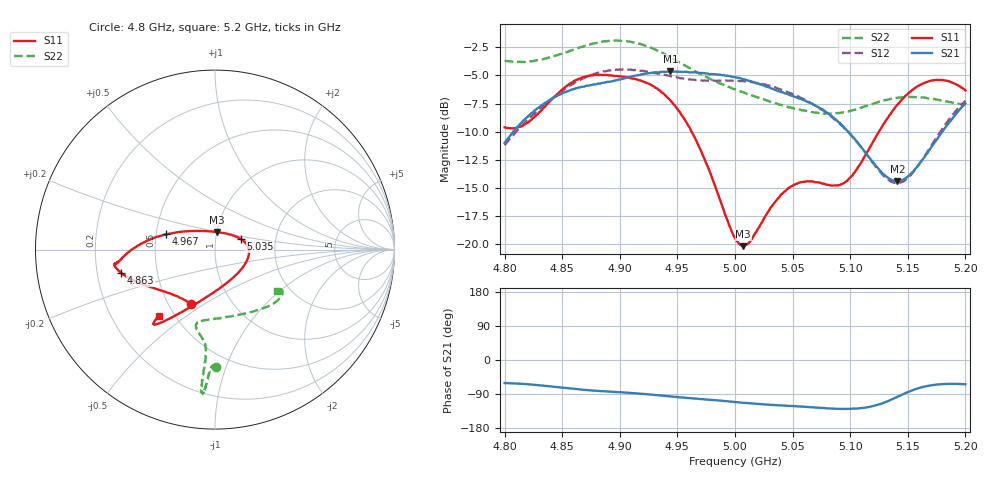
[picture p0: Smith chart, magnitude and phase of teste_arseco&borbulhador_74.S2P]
! Network Analyzer HP8722D
! Hewlett-Packard
! Data name: Linha & Wilkinson
! Saver's name: Rodrigo Anjos
! Comments: Teste da utilização de aquisição
! continua pelo VNA HP8722D
! Time and date: 15/4/2025 16:15
!  Frequency  S11  S21  S12  S22
# HZ  S  MA R 50
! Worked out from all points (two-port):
!   401 points, 4.8 GHz to 5.2 GHz, reference 50 ohm
!   highest |S21| = -4.62 dB at 4.944 GHz (marker M1); lowest = -14.4 dB at 5.141 GHz (marker M2)
!   |S21| within 3 dB of the highest: 4.833 GHz to 5.069 GHz (236.5 MHz wide, 4.78 % of centre); 5.198625 GHz to end of sweep
!   lowest |S11| = -20.2 dB at 5.007 GHz (marker M3), VSWR 1.22, Z = 50.2 + j9.88 ohm
!   |S11| at or under -10 dB: 4.962 GHz to 5.125 GHz (162.6 MHz wide, 3.22 % of centre)
!   |S22| runs from -8.4 to -1.9 dB; largest |S21 - S12| = 0.88
!   S11 on the Smith chart (normalised r, x): 4.8 GHz: 0.65, -0.44; 4.863 GHz: 0.30, -0.11; 4.967 GHz: 0.57, +0.11; 5.035 GHz: 1.32, +0.16; 5.2 GHz: 0.41, -0.40
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4.8e9  0.3311 -113.8  0.2822 -60.8  0.2755 -175.1  0.6542 -89.5
4.819e9  0.3453 -133.6  0.365 -63.7  0.3531 -173.3  0.6483 -91.2
4.863e9  0.5387 -166.1  0.4946 -77.1  0.5294 -176.7  0.7418 -93.6
4.867e9  0.5496 -167.6  0.5013 -78.3  0.5421 -177.4  0.7527 -93.7
4.898e9  0.5587 -172.2  0.5371 -84.6  0.5956 176.2  0.8033 -95.0
4.934e9  0.4852 -178.1  0.5801 -93.4  0.5738 171.8  0.72 -95.6
4.944e9  0.4356 177.5  0.5873 -96.2  0.5584 171.9  0.6772 -95.4
4.967e9  0.2842 162.5  0.5798 -102.1  0.5368 174.0  0.581 -94.9
5e9  0.1069 107.0  0.5523 -111.0  0.5331 176.4  0.4879 -99.3
5.007e9  0.09819 83.3  0.54 -112.9  0.5307 176.4  0.4741 -100.8
5.014e9  0.1046 61.1  0.5303 -114.8  0.5269 176.2  0.4611 -102.5
5.035e9  0.1549 22.7  0.4843 -119.1  0.4974 175.1  0.423 -103.9
5.049e9  0.1814 8.0  0.4569 -121.4  0.4684 174.5  0.404 -100.6
5.067e9  0.1907 -11.3  0.4209 -124.5  0.4215 174.0  0.3865 -91.9
5.085e9  0.1826 -39.8  0.3665 -128.3  0.3647 173.6  0.3818 -78.5
5.097e9  0.1909 -64.9  0.3211 -129.1  0.3206 174.5  0.3884 -68.6
5.134e9  0.3736 -116.0  0.1955 -107.0  0.1918 -159.7  0.4416 -43.4
5.141e9  0.4169 -120.1  0.191 -97.1  0.1871 -148.8  0.4478 -40.2
5.153e9  0.4812 -124.9  0.2068 -81.0  0.204 -130.2  0.4515 -36.0
5.17e9  0.5327 -128.6  0.2682 -66.9  0.2724 -113.0  0.4445 -32.1
5.184e9  0.5325 -129.9  0.3383 -63.2  0.3489 -107.2  0.4317 -31.1
5.2e9  0.4827 -130.4  0.4229 -64.1  0.4341 -106.1  0.4159 -33.3
